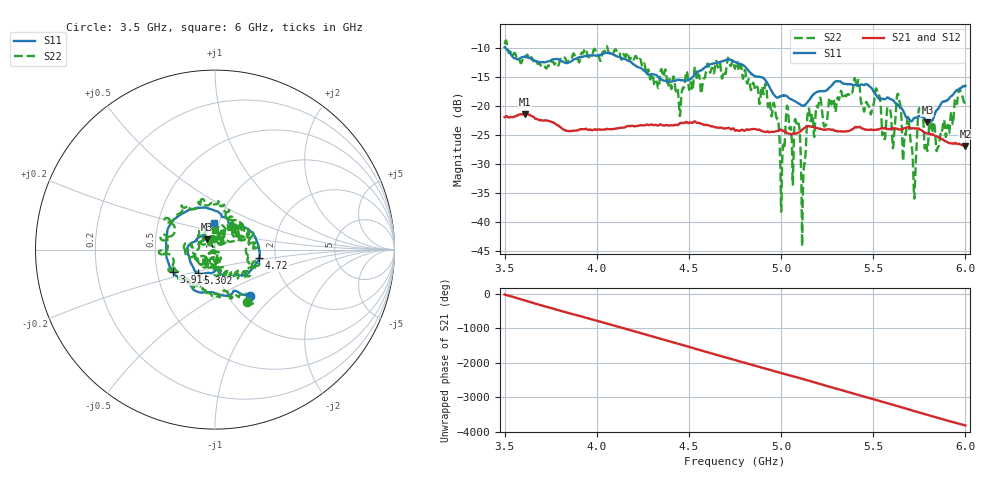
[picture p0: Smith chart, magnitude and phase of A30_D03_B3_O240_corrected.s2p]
! Created with skrf 1.9.0 (http://scikit-rf.org).
# Hz S RI R 50.0
!freq ReS11 ImS11 ReS21 ImS21 ReS12 ImS12 ReS22 ImS22
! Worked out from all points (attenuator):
!   1601 points, 3.5 GHz to 6 GHz, reference 50 ohm
!   highest |S21| = -21.40 dB at 3.611 GHz (marker M1); lowest = -26.9 dB at 6 GHz (marker M2)
!   lowest |S11| = -22.8 dB at 5.794 GHz (marker M3), VSWR 1.16, Z = 45.4 + j5.15 ohm
!   |S11| at or under -10 dB: 3.505 GHz to end of sweep
!   |S22| runs from -44.2 to -8.7 dB; largest |S21 - S12| = 0.00095
!   S11 on the Smith chart (normalised r, x): 3.5 GHz: 1.25, -0.72; 3.914 GHz: 0.61, -0.16; 4.72 GHz: 1.65, -0.16; 5.302 GHz: 0.80, -0.22; 6 GHz: 0.94, +0.29
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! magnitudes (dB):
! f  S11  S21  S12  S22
! 3.5 GHz  -9.9  -22.0  -22.0  -9.3
! 3.611 GHz  -11.4  -21.4  -21.4  -11.7
! 3.914 GHz  -11.6  -24.0  -24.0  -11.2
! 3.917 GHz  -11.6  -24.0  -24.0  -10.8
! 4.334 GHz  -15.1  -23.4  -23.3  -16.9
! 4.72 GHz  -12.0  -23.9  -23.9  -12.5
! 4.75 GHz  -12.4  -24.3  -24.2  -13.6
! 4.967 GHz  -18.3  -24.4  -24.4  -20.6
! 5.005 GHz  -18.2  -24.2  -24.2  -31.2
! 5.033 GHz  -18.4  -24.7  -24.6  -20.0
! 5.088 GHz  -19.4  -24.7  -24.7  -23.4
! 5.119 GHz  -20.0  -24.0  -23.9  -34.3
! 5.145 GHz  -19.3  -23.5  -23.4  -20.8
! 5.167 GHz  -18.3  -23.6  -23.6  -21.5
! 5.302 GHz  -15.7  -24.3  -24.3  -19.4
! 5.584 GHz  -18.6  -24.0  -24.0  -20.3
! 5.609 GHz  -19.1  -23.9  -23.8  -26.7
! 5.639 GHz  -20.0  -24.1  -24.0  -18.6
! 5.72 GHz  -22.1  -23.9  -23.8  -34.7
! 5.755 GHz  -21.8  -24.1  -24.1  -20.8
! 5.794 GHz  -22.8  -24.8  -24.7  -27.8
! 6 GHz  -16.5  -26.9  -26.9  -19.3
